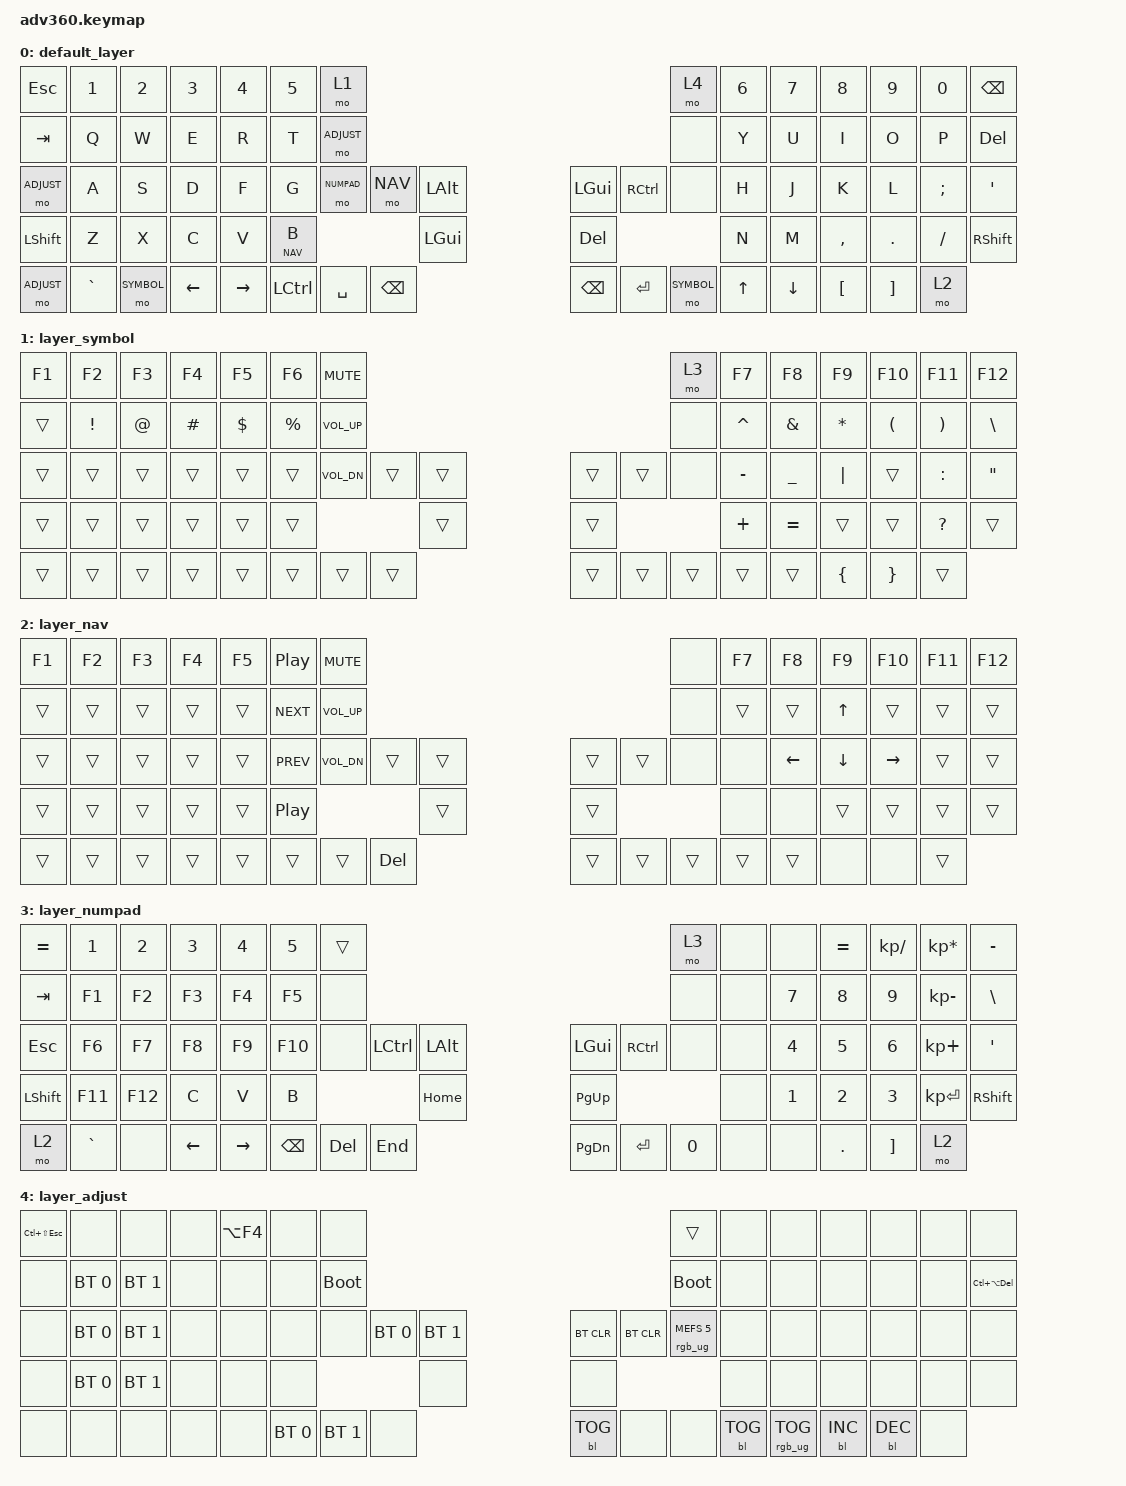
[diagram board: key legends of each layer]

#include <behaviors.dtsi>
#include <dt-bindings/zmk/keys.h>
#include <dt-bindings/zmk/bt.h>
#include <dt-bindings/zmk/rgb.h>
#include <dt-bindings/zmk/backlight.h>

#define QWERTY  0
#define SYMBOL  1
#define NAV     2
#define NUMPAD  3
#define ADJUST  4

#define COMBO(NAME, BINDINGS, KEYPOS) \
  combo_##NAME { \
    timeout-ms = <50>; \
    bindings = <BINDINGS>; \
    key-positions = <KEYPOS>; \
  };

&lt {
	tapping-term-ms = <150>;
	flavor = "tap-preferred";
};

/ { 
  behaviors {
    #include "macros.dtsi"

    hm: homerow_mods {
        compatible = "zmk,behavior-hold-tap";
        label = "HOMEROW_MODS";
        #binding-cells = <2>;
        tapping-term-ms = <200>;
        quick_tap_ms = <175>;
        flavor = "tap-preferred";
        bindings = <&kp>, <&kp>;
    };
  };
 
    keymap { 
        compatible = "zmk,keymap";

        default_layer {
            bindings = <
&kp ESC     &kp N1      &kp N2      &kp N3     &kp N4      &kp N5         &mo 1                                                                           &mo 4          &kp N6   &kp N7      &kp N8      &kp N9     &kp N0      &kp BSPC
&kp TAB     &kp Q       &kp W       &kp E      &kp R       &kp T          &mo ADJUST                                                                      &none          &kp Y    &kp U       &kp I       &kp O      &kp P       &kp DEL
&mo ADJUST  &kp A       &kp S       &kp D      &kp F       &kp G          &mo NUMPAD  &mo NAV    &kp LALT                       &kp LGUI       &kp RCTRL  &none          &kp H    &kp J       &kp K       &kp L      &kp SEMI    &kp SQT
&kp LSHFT   &kp Z       &kp X       &kp C      &kp V       &lt NAV B                             &kp LGUI                       &kp DEL                                  &kp N    &kp M       &kp COMMA   &kp DOT    &kp FSLH    &kp RSHFT
&mo ADJUST  &kp GRAVE   &mo SYMBOL  &kp LEFT   &kp RIGHT                  &kp LCTRL   &kp SPACE  &kp BACKSPACE                  &kp BACKSPACE  &kp RET    &mo SYMBOL     &kp UP      &kp DOWN    &kp LBKT   &kp RBKT    &mo 2
            >;
        };

        layer_symbol {
            bindings = <
 &kp F1  &kp F2    &kp F3    &kp F4     &kp F5      &kp F6          &kp C_MUTE                                                &mo 3        &kp F7      &kp F8      &kp F9          &kp F10          &kp F11     &kp F12
 &trans  &kp EXCL  &kp AT    &kp HASH   &kp DOLLAR  &kp PRCNT       &kp C_VOL_UP                                              &none        &kp CARET   &kp AMPS    &kp STAR        &kp LPAR         &kp RPAR    &kp BSLH
 &trans  &trans    &trans    &trans     &trans      &trans          &kp C_VOL_DN  &trans  &trans            &trans  &trans    &none        &kp MINUS   &kp UNDER   &kp PIPE        &trans           &kp COLON   &kp DQT
 &trans  &trans    &trans    &trans     &trans      &trans                                &trans            &trans                         &kp PLUS    &kp EQUAL   &trans          &trans           &kp QMARK   &trans
 &trans  &trans    &trans    &trans     &trans                      &trans        &trans  &trans            &trans  &trans    &trans       &trans      &trans      &kp LBRC        &kp RBRC         &trans
            >;
        };

        layer_nav {
            bindings = <
 &kp F1  &kp F2  &kp F3  &kp F4  &kp F5  &kp C_PP           &kp C_MUTE                                                      &none     &kp F7    &kp F8    &kp F9      &kp F10     &kp F11  &kp F12
 &trans  &trans  &trans  &trans  &trans  &kp C_NEXT         &kp C_VOL_UP                                                    &none     &trans    &trans    &kp UP      &trans      &trans   &trans
 &trans  &trans  &trans  &trans  &trans  &kp C_PREV         &kp C_VOL_DN   &trans  &trans                  &trans  &trans   &none     &none     &kp LEFT  &kp DOWN    &kp RIGHT   &trans   &trans
 &trans  &trans  &trans  &trans  &trans  &kp C_PP                                  &trans                  &trans                     &none     &none     &trans      &trans      &trans   &trans
 &trans  &trans  &trans  &trans  &trans                     &trans         &trans  &kp DEL                 &trans  &trans  &trans               &trans    &trans      &none       &none   &trans
            >;
        };

        layer_numpad {
            bindings = <
&kp EQUAL   &kp N1     &kp N2    &kp N3     &kp N4  &kp N5              &trans                                                                  &mo 3    &none      &none     &kp EQUAL      &kp KP_DIVIDE  &kp KP_MULTIPLY  &kp MINUS
&kp TAB     &kp F1     &kp F2    &kp F3     &kp F4  &kp F5              &none                                                                   &none    &none      &kp N7    &kp N8         &kp N9         &kp KP_MINUS     &kp BSLH
&kp ESC     &kp F6     &kp F7    &kp F8     &kp F9  &kp F10             &none      &kp LCTRL  &kp LALT                   &kp LGUI   &kp RCTRL   &none    &none      &kp N4    &kp N5         &kp N6         &kp KP_PLUS      &kp SQT
&kp LSHFT   &kp F11    &kp F12   &kp C      &kp V   &kp B                                     &kp HOME                   &kp PG_UP                       &none      &kp N1    &kp N2         &kp N3         &kp KP_ENTER     &kp RSHFT
&mo 2       &kp GRAVE  &none     &kp LEFT   &kp RIGHT                   &kp BSPC   &kp DEL    &kp END                    &kp PG_DN  &kp ENTER   &kp N0              &none     &none          &kp DOT        &kp RBKT         &mo 2
            >;
        };

        layer_adjust {
            bindings = <
  &kp LC(LS(ESC))  &none         &none         &none         &kp LA(F4)    &none            &none                                                                                      &trans   &none       &none            &none       &none       &none   &none
  &none            &bt BT_SEL 0  &bt BT_SEL 1  &none         &none         &none            &bootloader                                                                                 &bootloader   &none       &none            &none       &none       &none   &kp LC(LA(DEL))
  &none            &bt BT_SEL 0  &bt BT_SEL 1  &none         &none         &none            &none         &bt BT_SEL 0  &bt BT_SEL 1           &bt BT_CLR  &bt BT_CLR  &rgb_ug RGB_MEFS_CMD 5   &none       &none            &none       &none       &none   &none
  &none            &bt BT_SEL 0  &bt BT_SEL 1  &none         &none         &none                                        &none                  &none                                       &none       &none            &none       &none       &none   &none
  &none            &none         &none         &none         &none                          &bt BT_SEL 0  &bt BT_SEL 1  &none                  &bl BL_TOG       &none                   &none          &bl BL_TOG  &rgb_ug RGB_TOG  &bl BL_INC  &bl BL_DEC   &none
            >;
        };

    };
};
